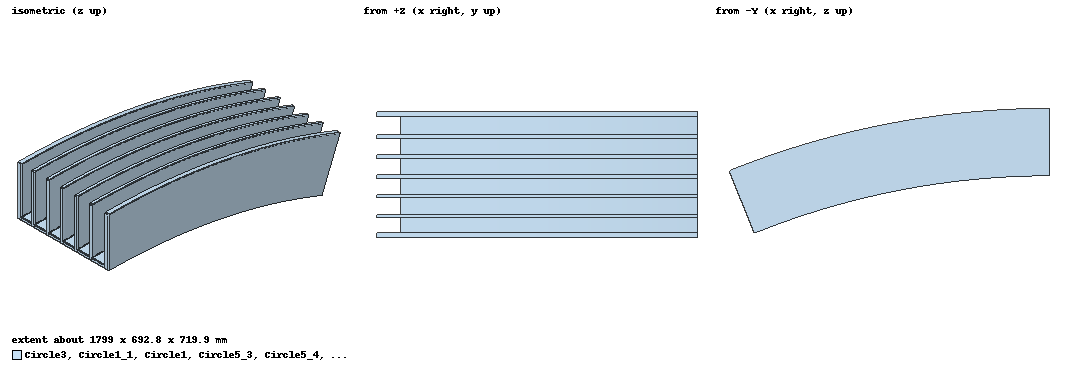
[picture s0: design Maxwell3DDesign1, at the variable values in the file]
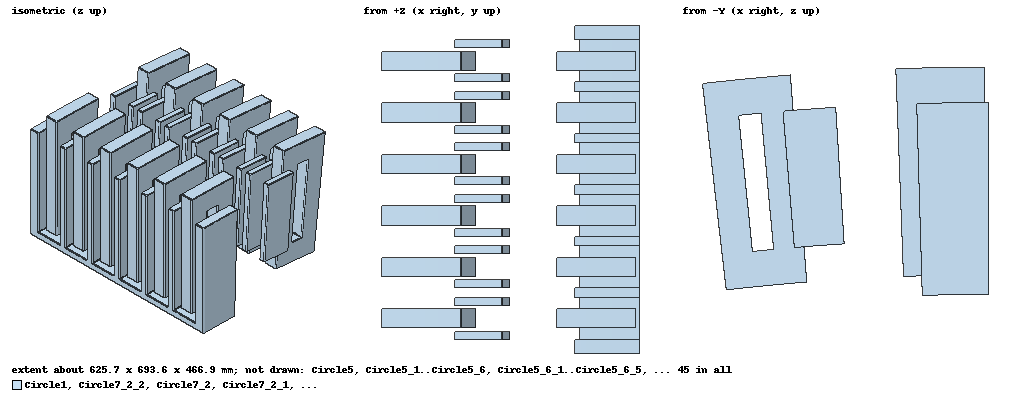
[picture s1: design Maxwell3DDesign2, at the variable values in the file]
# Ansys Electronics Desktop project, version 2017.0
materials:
  vacuum: permittivity=1

design Maxwell3DDesign1 (Maxwell 3D, Magnetostatic, model units mm)
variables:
  r_out = 4.7meter
  r_in = 4.44meter
  Np = 216
  t_o = 0.03meter
  total_length = (2*t_o+n_stack*l_ss+(n_stack-1)*t_i) meter
  r_web = 4.33meter
  lc = 0.0215meter
  l_ss = (2*h_m+l_mm) meter
  h_m = 0.0171meter
  l_mm = h_w+2*g
  h_w = 0.0406meter
  g = 0.007meter
  t_i = 0.02meter
  n_stack = 6
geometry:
  Circle1 [vacuum] = circle(normal=Y, centre=(0mm, 0mm, 0mm), radius=r_out)
  Circle2 = circle(normal=Y, centre=(0mm, 0mm, 0mm), radius=r_web)
  Circle1.subtract(Circle2)
  Circle1.split(plane=XY, keep=PositiveOnly)
  Circle1.split(plane=YZ, keep=PositiveOnly)
  Circle1.rotate(axis=Y, angle=-(360/Np)*4)
  Circle1.split(plane=YZ, keep=NegativeOnly)
  Circle1.sweep_along_vector((0mm, t_o, 0mm))
  Circle1_1 [vacuum] = Circle1.duplicate_along_line(step=(0mm, total_length-t_o, 0mm), total=2)
  Circle3 [vacuum] = circle(normal=Y, centre=(0mm, 0mm, 0mm), radius=r_web+lc)
  Circle3.split(plane=XY, keep=PositiveOnly)
  Circle3.split(plane=YZ, keep=NegativeOnly)
  Circle3.rotate(axis=Y, angle=(360/Np)*4)
  Circle3.split(plane=YZ, keep=PositiveOnly)
  Circle3.rotate(axis=Y, angle=-(360/Np)*4)
  Circle3.sweep_along_vector((0mm, total_length, 0mm))
  Circle4 = circle(normal=Y, centre=(0mm, 0mm, 0mm), radius=r_web)
  Circle4.sweep_along_vector((0mm, total_length+t_o, 0mm))
  Circle3.subtract(Circle4)
  Circle5 = circle(normal=Y, centre=(0mm, 0mm, 0mm), radius=r_out)
  Circle6 = circle(normal=Y, centre=(0mm, 0mm, 0mm), radius=r_web)
  Circle5.subtract(Circle6)
  Circle5.split(plane=XY, keep=PositiveOnly)
  Circle5.split(plane=YZ, keep=PositiveOnly)
  Circle5.rotate(axis=Y, angle=-(360/Np)*4)
  Circle5.split(plane=YZ, keep=NegativeOnly)
  Circle5.sweep_along_vector((0mm, t_i, 0mm))
  Circle5_1..Circle5_5 [vacuum] = Circle5.duplicate_along_line(step=(0mm, l_ss+t_i, 0mm), total=6)
  Circle5.delete()

design Maxwell3DDesign2 (Maxwell 3D, Magnetostatic, model units mm)
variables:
  r_o = 4.701meter
  r_web = 4.335meter
  Np = 216
  lc = 0.0215meter
  l_ss = 0.0889meter
  t_o = 0.03meter
  t_i = 0.02meter
  r_i = 4.44meter
  width_ratio = 0.737
  hm = 0.0171meter
  coil_ratio = 0.382
  tau_c = 0.177meter
  tw = coil_ratio*tau_c
  hw = 0.0406meter
  g = 0.007meter
  theta_ins = 0.1deg
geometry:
  Circle1 [vacuum] = circle(normal=Y, centre=(0mm, 0mm, 0mm), radius=r_o)
  Circle2 = circle(normal=Y, centre=(0mm, 0mm, 0mm), radius=r_web)
  Circle1.subtract(Circle2)
  Circle1.split(plane=XY, keep=PositiveOnly)
  Circle1.split(plane=YZ, keep=PositiveOnly)
  Circle1.rotate(axis=Y, angle=-2*pi/Np)
  Circle1.split(plane=YZ, keep=NegativeOnly)
  Circle1.sweep_along_vector((0meter, (0.867/1.25) meter, 0meter))
  Circle3 = circle(normal=Y, centre=(0mm, 0mm, 0mm), radius=r_o)
  Circle4 = circle(normal=Y, centre=(0mm, 0mm, 0mm), radius=r_web+lc)
  Circle3.subtract(Circle4)
  Circle3.split(plane=XY, keep=PositiveOnly)
  Circle3.split(plane=YZ, keep=PositiveOnly)
  Circle3.rotate(axis=Y, angle=-2*pi/Np)
  Circle3.split(plane=YZ, keep=NegativeOnly)
  Circle3.sweep_along_vector((0mm, l_ss, 0mm))
  Circle3.move(0mm, t_o, 0mm)
  Circle3_1..Circle3_5 = Circle3.duplicate_along_line(step=(0mm, t_i+l_ss, 0mm), total=6)
  Circle1.subtract(Circle3, Circle3_1..Circle3_5)
  Circle5 [vacuum] = circle(normal=Y, centre=(0mm, 0mm, 0mm), radius=r_o)
  Circle6 = circle(normal=Y, centre=(0mm, 0mm, 0mm), radius=r_i)
  Circle5.subtract(Circle6)
  Circle5.split(plane=XY, keep=PositiveOnly)
  Circle5.split(plane=YZ, keep=NegativeOnly)
  Circle5.rotate(axis=Y, angle=(2*pi/Np)*width_ratio)
  Circle5.split(plane=YZ, keep=PositiveOnly)
  Circle5.rotate(axis=Y, angle=-2*pi/Np+(2*pi/Np)*(1-width_ratio)/2)
  Circle5.move(0mm, 30mm, 0mm)
  Circle5.sweep_along_vector((0mm, hm, 0mm))
  Circle5_1..Circle5_5 [vacuum] = Circle5.duplicate_along_line(step=(0mm, t_i+l_ss, 0mm), total=6)
  Circle5_6 [vacuum] = Circle5.duplicate_along_line(step=(0mm, l_ss-hm, 0mm), total=2)
  Circle5_6_1..Circle5_6_5 [vacuum] = Circle5_6.duplicate_along_line(step=(0mm, l_ss+t_i, 0mm), total=6)
  Circle7 [vacuum] = circle(normal=Y, centre=(0mm, 0mm, 0mm), radius=tw+r_o)
  Circle8 = circle(normal=Y, centre=(0mm, 0mm, 0mm), radius=r_i-tw)
  Circle7.subtract(Circle8)
  Circle7.split(plane=XY, keep=PositiveOnly)
  Circle7.split(plane=YZ, keep=NegativeOnly)
  Circle7.rotate(axis=Y, angle=(2*pi/Np)*(4/3))
  Circle7.split(plane=YZ, keep=PositiveOnly)
  Circle7.rotate(axis=Y, angle=-(2*pi/Np))
  Circle9 = circle(normal=Y, centre=(0mm, 0mm, 0mm), radius=r_o)
  Circle10 = circle(normal=Y, centre=(0mm, 0mm, 0mm), radius=r_i)
  Circle9.subtract(Circle10)
  Circle9.split(plane=XY, keep=PositiveOnly)
  Circle9.split(plane=YZ, keep=NegativeOnly)
  Circle9.rotate(axis=Y, angle=(2*pi/Np)*(4/3)*(1-2*coil_ratio))
  Circle9.split(plane=YZ, keep=PositiveOnly)
  Circle9.rotate(axis=Y, angle=-(2*pi/Np))
  Circle9.rotate(axis=Y, angle=(2*pi/Np)*(4/3)*(coil_ratio))
  Circle7.subtract(Circle9)
  Circle7.rotate(axis=Y, angle=-(2*pi/Np)*(4/3))
  Circle7.rotate(axis=Y, angle=(2*pi/Np)+theta_ins)
  Circle7.split(plane=YZ, keep=NegativeOnly)
  Circle7.rotate(axis=Y, angle=-theta_ins)
  Circle7.rotate(axis=Y, angle=(2*pi/Np)*4/3-theta_ins)
  Circle7.split(plane=YZ, keep=PositiveOnly)
  Circle7.rotate(axis=Y, angle=-(2*pi/Np)*4/3+theta_ins)
  Circle7.sweep_along_vector((0mm, hw, 0mm))
  Circle7.move(0mm, t_o+hm+g, 0mm)
  Circle1_1, Circle1_2, Circle1_3 [vacuum] = Circle1.duplicate_around_axis(axis=Y, angle=-(2*pi/Np), total=4)
  Circle5_7, Circle5_8, Circle5_9 [vacuum] = Circle5.duplicate_around_axis(axis=Y, angle=-(2*pi/Np), total=4)
  Circle5_1_1, Circle5_1_2, Circle5_1_3 [vacuum] = Circle5_1.duplicate_around_axis(axis=Y, angle=-(2*pi/Np), total=4)
  Circle5_2_1, Circle5_2_2, Circle5_2_3 [vacuum] = Circle5_2.duplicate_around_axis(axis=Y, angle=-(2*pi/Np), total=4)
  Circle5_3_1, Circle5_3_2, Circle5_3_3 [vacuum] = Circle5_3.duplicate_around_axis(axis=Y, angle=-(2*pi/Np), total=4)
  Circle5_4_1, Circle5_4_2, Circle5_4_3 [vacuum] = Circle5_4.duplicate_around_axis(axis=Y, angle=-(2*pi/Np), total=4)
  Circle5_5_1, Circle5_5_2, Circle5_5_3 [vacuum] = Circle5_5.duplicate_around_axis(axis=Y, angle=-(2*pi/Np), total=4)
  Circle5_6_6, Circle5_6_7, Circle5_6_8 [vacuum] = Circle5_6.duplicate_around_axis(axis=Y, angle=-(2*pi/Np), total=4)
  Circle5_6_1_1, Circle5_6_1_2, Circle5_6_1_3 [vacuum] = Circle5_6_1.duplicate_around_axis(axis=Y, angle=-(2*pi/Np), total=4)
  Circle5_6_2_1, Circle5_6_2_2, Circle5_6_2_3 [vacuum] = Circle5_6_2.duplicate_around_axis(axis=Y, angle=-(2*pi/Np), total=4)
  Circle5_6_3_1, Circle5_6_3_2, Circle5_6_3_3 [vacuum] = Circle5_6_3.duplicate_around_axis(axis=Y, angle=-(2*pi/Np), total=4)
  Circle5_6_4_1, Circle5_6_4_2, Circle5_6_4_3 [vacuum] = Circle5_6_4.duplicate_around_axis(axis=Y, angle=-(2*pi/Np), total=4)
  Circle5_6_5_1, Circle5_6_5_2, Circle5_6_5_3 [vacuum] = Circle5_6_5.duplicate_around_axis(axis=Y, angle=-(2*pi/Np), total=4)
  Circle7_1, Circle7_2 [vacuum] = Circle7.duplicate_around_axis(axis=Y, angle=-(2*pi/Np)*4/3, total=3)
  Circle7_3..Circle7_7 [vacuum] = Circle7.duplicate_along_line(step=(0mm, 2*g+2*hm+t_i+hw, 0mm), total=6)
  Circle7_1_1..Circle7_1_5 [vacuum] = Circle7_1.duplicate_along_line(step=(0mm, 2*g+2*hm+t_i+hw, 0mm), total=6)
  Circle7_2_1..Circle7_2_5 [vacuum] = Circle7_2.duplicate_along_line(step=(0mm, 2*g+2*hm+t_i+hw, 0mm), total=6)
